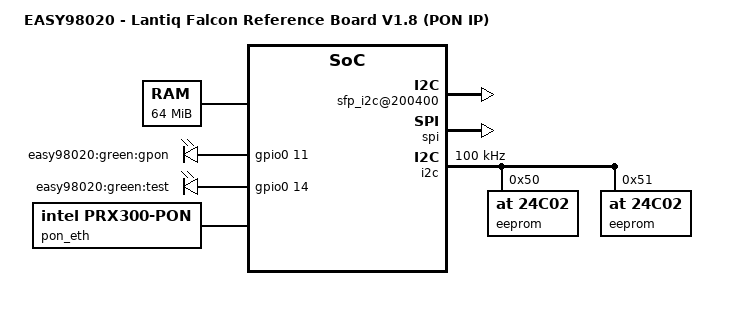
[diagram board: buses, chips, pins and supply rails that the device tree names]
/dts-v1/;

#include <dt-bindings/interrupt-controller/irq.h>
#include <dt-bindings/gpio/gpio.h>

#include "falcon.dtsi"
#include "falcon-sflash-16M.dtsi"

/ {
	model = "EASY98020 - Lantiq Falcon Reference Board V1.8 (PON IP)";
	compatible = "lantiq,falcon-easy98020-V18-ponip", "lantiq,falcon-easy98020-V18", "lantiq,falcon-easy98020", "lantiq,falcon";

	chosen {
		bootargs = "console=ttyLTQ0,115200 init=/etc/preinit";
	};

	aliases {
		spi0 = &ebu_cs0;
		spi1 = &spi;
	};

	memory@0 {
		device_type = "memory";
		reg = <0x0 0x4000000>;  // 64M at 0x0
	};

	pinctrl {
		led_pins: led-pins {
			lantiq,pins = "io11", "io14";
			lantiq,function = "gpio";
		};
	};

	easy98020-leds {
		compatible = "gpio-leds";
		pinctrl-names = "default";
		pinctrl-0 = <&led_pins &bootled_pins>;

		GPON {
			label = "easy98020:green:gpon";
			gpios = <&gpio0 11 GPIO_ACTIVE_HIGH>;
			default-state = "keep";
		};
		TEST {
			label = "easy98020:green:test";
			gpios = <&gpio0 14 GPIO_ACTIVE_HIGH>;
			default-state = "keep";
		};
	};

	/* to load the dummy driver, HW is not in chip */
	pon_eth: pon_ethernet@2 {
		compatible = "intel,prx300-pon";
		reg = <2>;
	};

	sbs0@1F000000 {
		sfp_i2c@200400 {
			compatible = "intel,pon-sfp-i2c";
			/* mark this as simulation without HW */
			intel,simulate;
			reg = <0x200400 0x400>,
			      <0x200800 0x800>,
			      <0x201000 0x800>,
			      <0x201800 0x800>,
			      <0x202000 0x1000>,
			      <0x204000 0x4000>;
			reg-names = "genrisc-reg",
				    "host-reg",
				    "mac-ht-reg",
				    "aca-mem",
				    "spram",
				    "iram";
		};
	};
};

&spi {
	status = "ok";

	ponmbox@1 {
		compatible = "intel,prx300-pon-mbox";
		reg = <1>;
		spi-max-frequency = <10000000>;
		spi-cpha;
		spi-cpol;

		interrupts = <1 IRQ_TYPE_LEVEL_HIGH>;
		interrupt-parent = <&gpio0>;
	};
};

&i2c {
	status = "okay";
	clock-frequency = <100000>;

	eeprom@50 {
		compatible = "at,24c02";
		reg = <0x50>;
	};
	eeprom@51 {
		compatible = "at,24c02";
		reg = <0x51>;
	};
};
